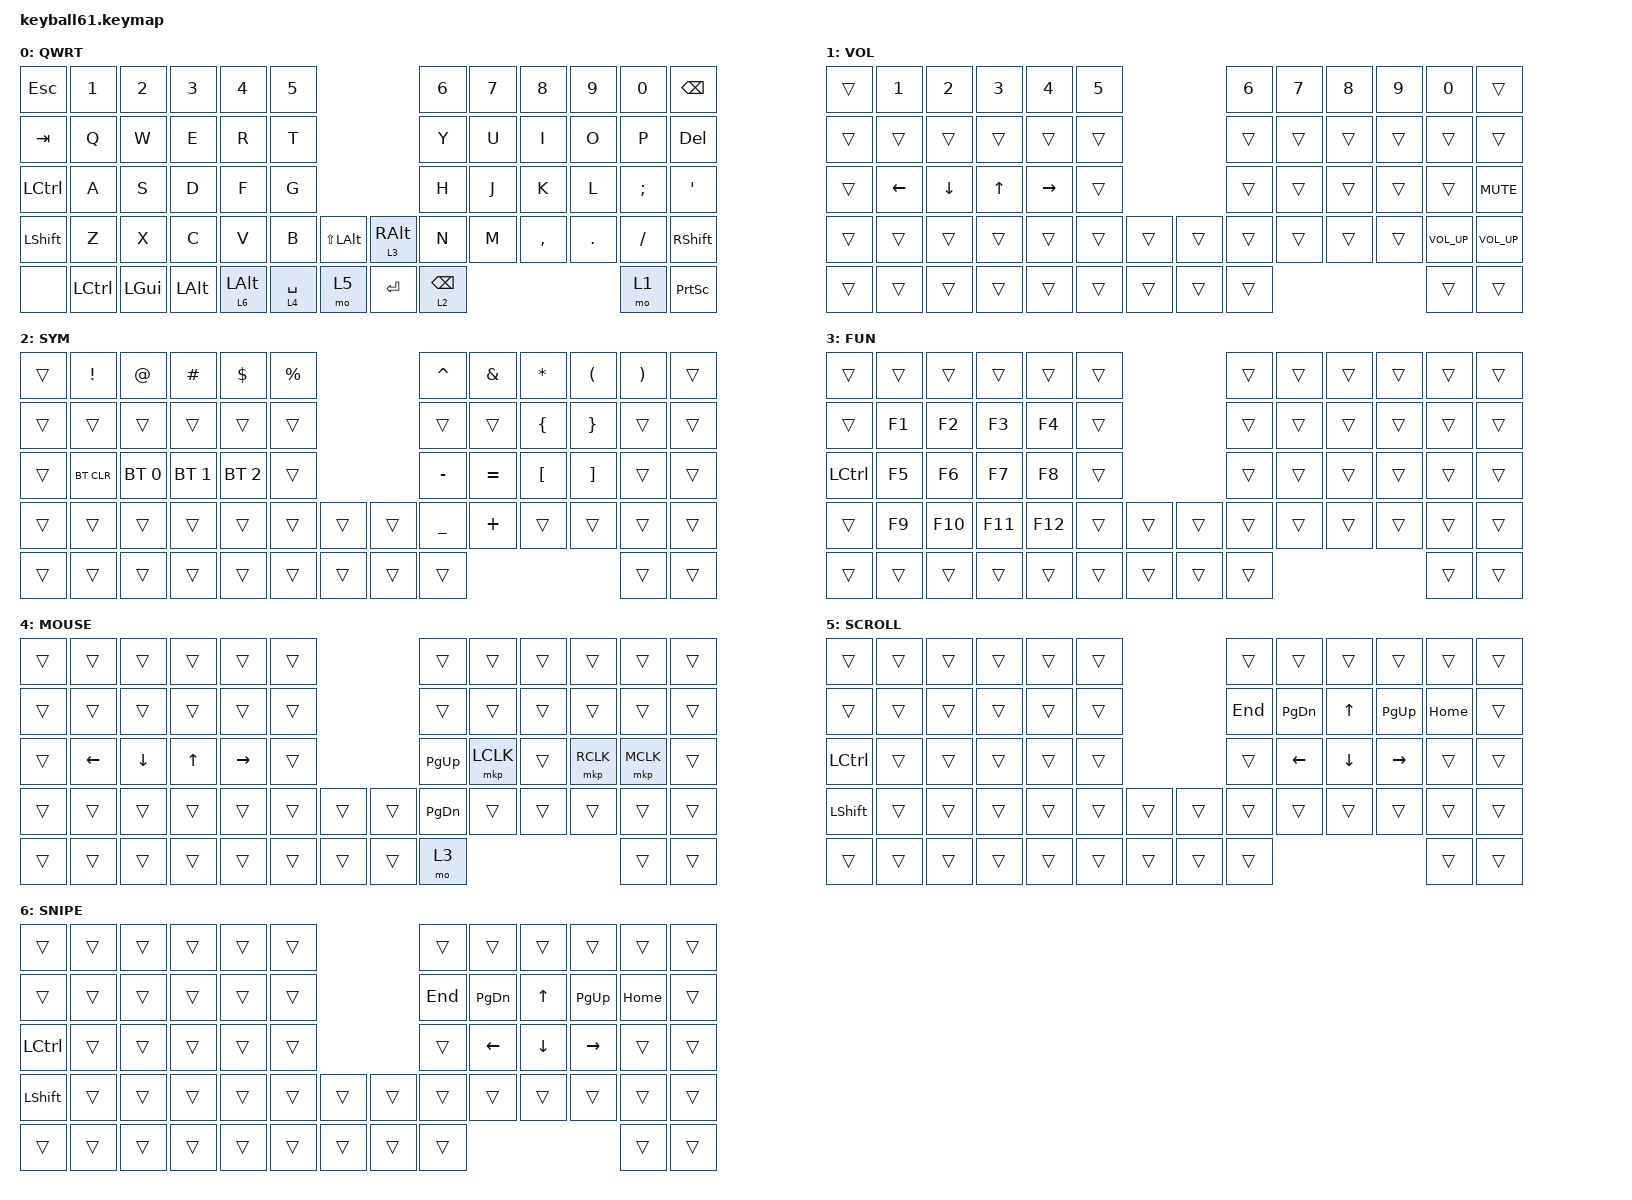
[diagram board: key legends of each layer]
#define DEFAULT 0
#define SYM     1
#define FUN     2
#define MOUSE   3
#define SCROLL  4
#define SNIPE   5

#include <behaviors/mouse_keys.dtsi>
#include <dt-bindings/zmk/mouse.h>
#include <behaviors.dtsi>
#include <dt-bindings/zmk/bt.h>
#include <dt-bindings/zmk/keys.h>
#include <dt-bindings/zmk/pointing.h>

&lt {
    tapping-term-ms = <240>;
    flavor = "balanced";
    quick-tap-ms = <150>;
};

&mt {
    tapping-term-ms = <200>;
    flavor = "tap-preferred";
    quick-tap-ms = <150>;
};

/ {
    keymap {
        compatible = "zmk,keymap";

        df {
            label = "QWRT";
            bindings = <
&kp ESC         &kp N1     &kp N2        &kp N3        &kp N4          &kp N5                                          &kp N6           &kp N7  &kp N8     &kp N9   &kp N0    &kp BSPC
&kp TAB         &kp Q      &kp W         &kp E         &kp R           &kp T                                           &kp Y            &kp U   &kp I      &kp O    &kp P     &kp DELETE
&kp LCTRL       &kp A      &kp S         &kp D         &kp F           &kp G                                           &kp H            &kp J   &kp K      &kp L    &kp SEMI  &kp SQT
&kp LEFT_SHIFT  &kp Z      &kp X         &kp C         &kp V           &kp B        &kp LS(LEFT_ALT)  &lt 3 RIGHT_ALT  &kp N            &kp M   &kp COMMA  &kp DOT  &kp FSLH  &kp RIGHT_SHIFT
&none           &kp LCTRL  &kp LEFT_GUI  &kp LEFT_ALT  &lt 6 LEFT_ALT  &lt 4 SPACE  &mo 5             &kp ENTER        &lt 2 BACKSPACE                              &mo 1     &kp PRINTSCREEN
            >;
        };

        volume_layer {
            bindings = <
&trans  &kp N1    &kp N2    &kp N3  &kp N4     &kp N5                  &kp N6  &kp N7  &kp N8  &kp N9  &kp N0        &trans
&trans  &trans    &trans    &trans  &trans     &trans                  &trans  &trans  &trans  &trans  &trans        &trans
&trans  &kp LEFT  &kp DOWN  &kp UP  &kp RIGHT  &trans                  &trans  &trans  &trans  &trans  &trans        &kp K_MUTE
&trans  &trans    &trans    &trans  &trans     &trans  &trans  &trans  &trans  &trans  &trans  &trans  &kp C_VOL_UP  &kp C_VOL_UP
&trans  &trans    &trans    &trans  &trans     &trans  &trans  &trans  &trans                          &trans        &trans
            >;

            label = "VOL";
        };

        symbol_layer {
            label = "SYM";
            bindings = <
&trans  &kp EXCLAMATION  &kp AT_SIGN   &kp HASH      &kp DOLLAR    &kp PERCENT                  &kp CARET       &kp AMPERSAND  &kp ASTERISK      &kp LEFT_PARENTHESIS  &kp RIGHT_PARENTHESIS  &trans
&trans  &trans           &trans        &trans        &trans        &trans                       &trans          &trans         &kp LEFT_BRACE    &kp RIGHT_BRACE       &trans                 &trans
&trans  &bt BT_CLR       &bt BT_SEL 0  &bt BT_SEL 1  &bt BT_SEL 2  &trans                       &kp MINUS       &kp EQUAL      &kp LEFT_BRACKET  &kp RIGHT_BRACKET     &trans                 &trans
&trans  &trans           &trans        &trans        &trans        &trans       &trans  &trans  &kp UNDERSCORE  &kp PLUS       &trans            &trans                &trans                 &trans
&trans  &trans           &trans        &trans        &trans        &trans       &trans  &trans  &trans                                                                 &trans                 &trans
            >;
        };

        function_layer {
            label = "FUN";
            bindings = <
&trans     &trans  &trans   &trans   &trans   &trans                  &trans  &trans  &trans  &trans  &trans  &trans
&trans     &kp F1  &kp F2   &kp F3   &kp F4   &trans                  &trans  &trans  &trans  &trans  &trans  &trans
&kp LCTRL  &kp F5  &kp F6   &kp F7   &kp F8   &trans                  &trans  &trans  &trans  &trans  &trans  &trans
&trans     &kp F9  &kp F10  &kp F11  &kp F12  &trans  &trans  &trans  &trans  &trans  &trans  &trans  &trans  &trans
&trans     &trans  &trans   &trans   &trans   &trans  &trans  &trans  &trans                          &trans  &trans
            >;
        };

        mouse_layer {
            label = "MOUSE";
            bindings = <
&trans  &trans    &trans    &trans  &trans     &trans                  &trans         &trans     &trans  &trans     &trans     &trans
&trans  &trans    &trans    &trans  &trans     &trans                  &trans         &trans     &trans  &trans     &trans     &trans
&trans  &kp LEFT  &kp DOWN  &kp UP  &kp RIGHT  &trans                  &kp PAGE_UP    &mkp LCLK  &trans  &mkp RCLK  &mkp MCLK  &trans
&trans  &trans    &trans    &trans  &trans     &trans  &trans  &trans  &kp PAGE_DOWN  &trans     &trans  &trans     &trans     &trans
&trans  &trans    &trans    &trans  &trans     &trans  &trans  &trans  &mo 3                                        &trans     &trans
            >;
        };

        scroll_layer {
            label = "SCROLL";
            bindings = <
&trans     &trans  &trans  &trans  &trans  &trans                  &trans   &trans     &trans    &trans     &trans    &trans
&trans     &trans  &trans  &trans  &trans  &trans                  &kp END  &kp PG_DN  &kp UP    &kp PG_UP  &kp HOME  &trans
&kp LCTRL  &trans  &trans  &trans  &trans  &trans                  &trans   &kp LEFT   &kp DOWN  &kp RIGHT  &trans    &trans
&kp LSHFT  &trans  &trans  &trans  &trans  &trans  &trans  &trans  &trans   &trans     &trans    &trans     &trans    &trans
&trans     &trans  &trans  &trans  &trans  &trans  &trans  &trans  &trans                                   &trans    &trans
            >;
        };

        snipe_layer {
            label = "SNIPE";
            bindings = <
&trans          &trans  &trans  &trans  &trans  &trans                  &trans   &trans         &trans    &trans     &trans    &trans
&trans          &trans  &trans  &trans  &trans  &trans                  &kp END  &kp PAGE_DOWN  &kp UP    &kp PG_UP  &kp HOME  &trans
&kp LCTRL       &trans  &trans  &trans  &trans  &trans                  &trans   &kp LEFT       &kp DOWN  &kp RIGHT  &trans    &trans
&kp LEFT_SHIFT  &trans  &trans  &trans  &trans  &trans  &trans  &trans  &trans   &trans         &trans    &trans     &trans    &trans
&trans          &trans  &trans  &trans  &trans  &trans  &trans  &trans  &trans                                       &trans    &trans
            >;
        };
    };
};
